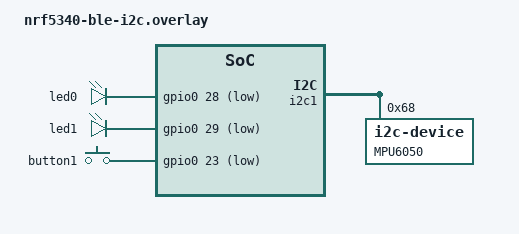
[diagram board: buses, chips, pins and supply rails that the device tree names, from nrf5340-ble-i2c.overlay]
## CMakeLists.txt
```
cmake_minimum_required(VERSION 3.20.0)
find_package(Zephyr REQUIRED HINTS $ENV{ZEPHYR_BASE})

project(test-application)

FILE(GLOB app_sources src/*.c)

target_sources(app PRIVATE ${app_sources})
```

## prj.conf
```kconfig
# Misc. settings (allow nonsecure logging, enable I2C)
CONFIG_I2C=y
CONFIG_FPU=y
CONFIG_TFM_SECURE_UART=n
CONFIG_TFM_LOG_LEVEL_SILENCE=y
CONFIG_LOG_BACKEND_SHOW_COLOR=y


# Bluetooth settings
CONFIG_BT=y
CONFIG_BT_PERIPHERAL=y
CONFIG_BT_SMP=n
CONFIG_BT_SETTINGS=n
CONFIG_BT_PRIVACY=n
CONFIG_BT_SIGNING=n
CONFIG_BT_GATT_CACHING=n
CONFIG_BT_DEVICE_NAME="Arctic_Beacon"

CONFIG_BT_GAP_AUTO_UPDATE_CONN_PARAMS=y
CONFIG_BT_PERIPHERAL_PREF_MIN_INT=12
CONFIG_BT_PERIPHERAL_PREF_MAX_INT=12
CONFIG_BT_PERIPHERAL_PREF_LATENCY=0
CONFIG_BT_PERIPHERAL_PREF_TIMEOUT=400

# Logging parameters
CONFIG_LOG=y
CONFIG_PRINTK=y
CONFIG_SERIAL=y
CONFIG_LOG_BACKEND_UART=y
CONFIG_UART_CONSOLE=y
```

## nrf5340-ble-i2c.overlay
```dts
/ { aliases {
        led0 = &led0;
        led1 = &led1;
        button1 = &button1;
    };
};

/* Override LED0 definition */
&led0 {
    gpios = <&gpio0 28 GPIO_ACTIVE_LOW>;
};
&led1 {
    gpios = <&gpio0 29 GPIO_ACTIVE_LOW>;
};
&button1 {
    gpios = <&gpio0 23 GPIO_ACTIVE_LOW>;
};


&i2c1{
    mpu6050:mpu6050@68{
        compatible = "i2c-device";
        reg = < 0x68 >;
        status = "okay";
        label = "MPU6050";
    };
};
```

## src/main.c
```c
#include <zephyr/kernel.h>
#include "mpu6050.h"
#include "bluetooth.h"
#include "button.h" 
#include <zephyr/device.h>
#include <zephyr/devicetree.h>
#include <zephyr/logging/log.h>
#include <zephyr/sys/printk.h>
#include <zephyr/drivers/i2c.h>

#define I2C1_NODE DT_NODELABEL(mpu6050)
static const struct i2c_dt_spec dev_i2c1 = I2C_DT_SPEC_GET(I2C1_NODE);

#define STACKSIZE 2048
#define PRIORITY 5
static struct k_work adv_work;

K_THREAD_STACK_DEFINE(send_data_stack, STACKSIZE);
static struct k_thread send_data_thread_id;

LOG_MODULE_REGISTER(testapp);


static void adv_work_handler(struct k_work *work)
{
        if (my_ble_init() != 0) 
        {
        return;
        }
}

static void advertising_start(void)
{
	k_work_submit(&adv_work);
}

void send_data_thread(void)
{
        while(1)
        {
        // Read all available accelerometer frames and average them
        struct Accel accel_data = readAccelFIFO(&dev_i2c1);

        // Read gyroscope once (or implement similar FIFO if needed)
        //struct Measurement gyro_data = readGyro(&dev_i2c1);

        // Print debug info
        //printk("Accel X: %.3f, Y: %.3f, Z: %.3f\n", accel_data.x, accel_data.y, accel_data.z);

        // Send via BLE
        my_ble_send_accel(accel_data);
        //my_ble_send_gyro(gyro_data);

        // Sleep to control data rate
        k_sleep(K_MSEC(15));
        }
}


int main(void)
{

    gpio_pin_configure_dt(&button1, GPIO_INPUT | GPIO_PULL_UP);
    /* Falling edge interrrupt for */
    gpio_pin_interrupt_configure_dt(&button1, GPIO_INT_EDGE_FALLING);
    gpio_init_callback(&button_cb, update_press, BIT(button1.pin));
    gpio_add_callback(button1.port, &button_cb);



        if (!mpu6050_init(&dev_i2c1)) 
        {
        return 1;
        }

        if (!mpu6050_gyro_test(&dev_i2c1))
        {
        return 1;
        }

        if (!mpu6050_accel_test(&dev_i2c1)) 
        {
                return 1;
        }

        if (!mpu6050_calculate_accel_offsets(&dev_i2c1)) 
        {
        return 1;
        }
        /*
        if (!mpu6050_calculate_gyro_offsets(&dev_i2c1)) 
        {
        return 1;
        }*/
        
        
        k_work_init(&adv_work, adv_work_handler);
	advertising_start();

        k_thread_create(&send_data_thread_id,
                    send_data_stack,
                    STACKSIZE,
                    send_data_thread,
                    NULL, NULL, NULL,
                    PRIORITY, 0, K_NO_WAIT);

}
```

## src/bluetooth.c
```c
#include "bluetooth.h"
#include "button.h"

LOG_MODULE_DECLARE(testapp);

static bool notify_gyro_enabled = false;
static bool notify_accel_enabled = false;
static bool notify_button_enabled = false;
extern uint8_t counter;


#define BT_UUID_SERVICE_VAL  BT_UUID_128_ENCODE(0x12345678,0x1234,0x5678,0x1234,0x56789abcdef0)
#define BT_UUID_GYRO_CHAR_VAL     BT_UUID_128_ENCODE(0x12345679,0x1234,0x5678,0x1234,0x56789abcdef0)
#define BT_UUID_ACCEL_CHAR_VAL     BT_UUID_128_ENCODE(0x12345676,0x1234,0x5678,0x1234,0x56789abcdef0)
#define BT_UUID_BUTTON_CHAR_VAL     BT_UUID_128_ENCODE(0x12345675,0x1234,0x5678,0x1234,0x56789abcdef0)

static struct bt_uuid_128 gyro_service_uuid = BT_UUID_INIT_128(BT_UUID_SERVICE_VAL);
static struct bt_uuid_128 gyro_char_uuid    = BT_UUID_INIT_128(BT_UUID_GYRO_CHAR_VAL);
static struct bt_uuid_128 accel_char_uuid    = BT_UUID_INIT_128(BT_UUID_ACCEL_CHAR_VAL);
static struct bt_uuid_128 button_char_uuid    = BT_UUID_INIT_128(BT_UUID_BUTTON_CHAR_VAL);

static void gyro_ccc_cfg_changed(const struct bt_gatt_attr *attr, uint16_t value);
static void accel_ccc_cfg_changed(const struct bt_gatt_attr *attr, uint16_t value);
static void button_ccc_cfg_changed(const struct bt_gatt_attr *attr, uint16_t value);

/* values for characteristics */
static uint16_t gyro_value = 0;
//static uint16_t accel_value = 0;
static uint8_t accel_value[12];
static uint8_t button_value = 0;


/* GATT service definition and characteristic definitions */
BT_GATT_SERVICE_DEFINE(my_svc,
    BT_GATT_PRIMARY_SERVICE(&gyro_service_uuid),

    /* GYRO characteristic */
    BT_GATT_CHARACTERISTIC(&gyro_char_uuid.uuid,
            BT_GATT_CHRC_NOTIFY,
            BT_GATT_PERM_NONE,
            NULL, NULL, &gyro_value),

    BT_GATT_CCC(gyro_ccc_cfg_changed,
            BT_GATT_PERM_READ | BT_GATT_PERM_WRITE),

    BT_GATT_DESCRIPTOR(BT_UUID_GATT_CUD,
            BT_GATT_PERM_READ,
            NULL, NULL, "Gyroscope Data"),

    /* ACCEL characteristic */
    BT_GATT_CHARACTERISTIC(&accel_char_uuid.uuid,
            BT_GATT_CHRC_NOTIFY,
            BT_GATT_PERM_NONE,
            NULL, NULL, &accel_value),

    BT_GATT_CCC(accel_ccc_cfg_changed,
            BT_GATT_PERM_READ | BT_GATT_PERM_WRITE),

    BT_GATT_DESCRIPTOR(BT_UUID_GATT_CUD,
            BT_GATT_PERM_READ,
            NULL, NULL, "Accelerometer Data"),

        /* Button characteristic */
    BT_GATT_CHARACTERISTIC(&button_char_uuid.uuid,
            BT_GATT_CHRC_NOTIFY,
            BT_GATT_PERM_NONE,
            NULL, NULL, &button_value),

    BT_GATT_CCC(button_ccc_cfg_changed,
            BT_GATT_PERM_READ | BT_GATT_PERM_WRITE),

    BT_GATT_DESCRIPTOR(BT_UUID_GATT_CUD,
            BT_GATT_PERM_READ,
            NULL, NULL, "Button Data")        
);

/* Callback functions for client subscribing/removing subscription */
static void gyro_ccc_cfg_changed(const struct bt_gatt_attr *attr, uint16_t value)
{
    notify_gyro_enabled = (value & BT_GATT_CCC_NOTIFY) != 0;
}

static void accel_ccc_cfg_changed(const struct bt_gatt_attr *attr, uint16_t value)
{
    notify_accel_enabled = (value & BT_GATT_CCC_NOTIFY) != 0;
}

static void button_ccc_cfg_changed(const struct bt_gatt_attr *attr, uint16_t value)
{
    notify_button_enabled = (value & BT_GATT_CCC_NOTIFY) != 0;
    if (notify_button_enabled) {
        button_value = counter;
        bt_gatt_notify(NULL, &my_svc.attrs[10], &button_value, sizeof(button_value));
    }
}

/* Send Gyroscope values */
int my_ble_send_gyro(struct Measurement val)
{
    if (!notify_gyro_enabled) {
        return -EACCES;
    }


    /* Convert to Big-Endian (values make more sense)*/
    val.x = sys_cpu_to_be16(val.x);
    val.y = sys_cpu_to_be16(val.y);
    val.z = sys_cpu_to_be16(val.z);

    return bt_gatt_notify(NULL, &my_svc.attrs[2], &val, sizeof(val));
}

/* Send Accelometer values (float, no burst) */
int my_ble_send_accel(struct Accel val)
{
    if (!notify_accel_enabled) {
        return -EACCES;
    }

    return bt_gatt_notify(NULL, &my_svc.attrs[6], &val, sizeof(val));
}

/* Send button value */
int my_ble_send_button(uint8_t value)
{
    if (!notify_button_enabled) {
        return -EACCES;
    }

    button_value = value;

    return bt_gatt_notify(NULL, &my_svc.attrs[10], &button_value, sizeof(button_value));
}

static void on_connected(struct bt_conn *conn, uint8_t err)
{
    if (err) {
        LOG_ERR("BLE: Failed to connect (%u)\n", err);
    } else {
        LOG_INF("BLE: Connected\n");
        static struct bt_le_conn_param conn_param = {
            .interval_min = 12,   // 15 ms
            .interval_max = 12,   // 15 ms
            .latency = 0,
            .timeout = 400,
        };

        bt_conn_le_param_update(conn, &conn_param);

    }
}

static void on_disconnected(struct bt_conn *conn, uint8_t reason)
{
    LOG_INF("BLE: Disconnected (reason %u)\n", reason);
}

BT_CONN_CB_DEFINE(conn_callbacks) = {
    .connected = on_connected,
    .disconnected = on_disconnected,
};

int my_ble_init(void)
{
    printk("BLE initializing\n");

    int err = bt_enable(NULL);
    if (err) {
        LOG_ERR("BLE init failed (%d)\n", err);
        return err;
    }

    /* Connectable BLE GATT parameters */
    static const struct bt_le_adv_param adv_param = {
        .id = BT_ID_DEFAULT,
        .interval_min = BT_GAP_ADV_FAST_INT_MIN_2,
        .interval_max = BT_GAP_ADV_FAST_INT_MAX_2,
        .options = BT_LE_ADV_OPT_USE_NAME| BT_LE_ADV_OPT_CONNECTABLE,  
    };

    /* Start advertising with aforementioned parameters */
    err = bt_le_adv_start(&adv_param, NULL, 0, NULL, 0);
    if (err) {
        LOG_ERR("Advertising failed (%d)", err);
        return err;
    }


    LOG_INF("Advertising started\n");
    printk("BLE initialized\n");


    return 0;
}
```

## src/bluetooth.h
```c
#ifndef MY_BLUETOOTH_H
#define MY_BLUETOOTH_H

#include <zephyr/bluetooth/bluetooth.h>
#include <zephyr/bluetooth/gatt.h>
#include <zephyr/bluetooth/conn.h>
#include <zephyr/logging/log.h>
#include "measurement.h"
#include <zephyr/sys/byteorder.h>

int my_ble_init(void);
int my_ble_send_gyro(struct Measurement val);
int my_ble_send_accel(struct Accel val);
int my_ble_send_button(uint8_t value);

#endif
```

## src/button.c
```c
#include "button.h"
#include "bluetooth.h"

struct gpio_callback button_cb;
uint8_t counter = 0;
uint8_t button_presses = 0;
const struct gpio_dt_spec button1 = GPIO_DT_SPEC_GET(DT_ALIAS(button1), gpios);

void update_press(const struct device *dev, struct gpio_callback *cb, uint32_t pins)
{
    button_presses++;
    my_ble_send_button(counter);

    if(button_presses > 1 && counter < 5)
    {
        counter++;
        my_ble_send_button(counter);
    }
    else if(button_presses == 255)
    {
        button_presses = 0;
    }
    else
    {
        counter = 0;
        button_presses++;
        my_ble_send_button(counter);
    }
}
```

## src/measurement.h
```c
#ifndef MEASUREMENT_H
#define MEASUREMENT_H

#include <stdint.h>

struct Measurement {
    int16_t x;
    int16_t y;
    int16_t z;
};

struct Accel {
    float x;
    float y;
    float z;
};

#endif
```

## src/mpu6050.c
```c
#include "mpu6050.h"

LOG_MODULE_DECLARE(testapp);

uint8_t fssel_input;
int16_t gyro_offset_x = 0, gyro_offset_y = 0 , gyro_offset_z = 0;
int16_t accel_offset_x = 0, accel_offset_y = 0, accel_offset_z = 0;

bool mpu6050_init(const struct i2c_dt_spec *target_node) 
{
    uint8_t addr_data;
    uint8_t config_data;
    uint8_t smprate_data;
    uint8_t fssel_data; // Used to check written fssel configuration
    uint8_t power_state; // Used for checking correct write of power state (On)
    uint8_t fssel_selection = 0; // Selection of configuration with index number of fssel_options array
    uint8_t fs_sel[2] = {shared.gyro_config,fssel_input}; 
    int res;

    /* Configure LED for calibration signaling (led0 for accel, led1 for gyro)*/
    gpio_pin_configure_dt(&led0, GPIO_OUTPUT_INACTIVE);
    gpio_pin_configure_dt(&led1, GPIO_OUTPUT_INACTIVE);

    /* Check microcontroller I2C bus */
    printk("Initializing MPU6050 driver\n");
    if (!device_is_ready(target_node->bus)) {
        LOG_ERR("I2C bus not ready\n");
        return false;
    }

    /* Check MPU6050 by reading WHO_AM_I register */
    res = i2c_reg_read_byte_dt(target_node, MPU6050_WHOAMI, &addr_data);
    if (res != 0) 
    {
        LOG_ERR("Failed to read WHO_AM_I register (err %d)\n", res);
        return false;
    }


        /* Wake sensor up from sleep mode */
    res = i2c_reg_write_byte_dt(target_node, init.power[0], init.power[1]);
    if(res != 0)
    {
	    LOG_ERR("Failed to power up");
        return false;
    }
    res = i2c_reg_read_byte_dt(target_node, init.power[0], &power_state);
    if(res != 0 || power_state != init.power[1]) {
        LOG_ERR("Register verification failed");
        return false;
    }

    /* Write CLPF/External Frame Sync configuration */
    res = i2c_reg_write_byte_dt(target_node, init.config[0], init.config[1]);
    if(res != 0)
    {
	    LOG_ERR("Failed to write configuration");
        return false;
    }

    /* Write sample rate divider */
    res = i2c_reg_write_byte_dt(target_node, init.smp_rate[0], init.smp_rate[1]);
    if(res != 0)
    {
	LOG_ERR("Failed to write sample rate divider");
    return false;
    }

    /* Set Full Scale Range based on fssel_selection variable */
    switch(fssel_selection)
    {
    case 0:
        fssel_input = init.fssel_options[0];
        break;
    case 1:
        fssel_input = init.fssel_options[1];
        break;
    case 2:
        fssel_input = init.fssel_options[2];
        break;
    case 3:
        fssel_input = init.fssel_options[3];
        break;
    default:
        break;
    }

    /* Write Full Scale Range configuration */
    res = i2c_reg_write_byte_dt(target_node, fs_sel[0], fs_sel[1]);
    if(res != 0)
    {
	    LOG_ERR("Failed to write Gyroscope full scale range");
        return false;
    }

        /* Write Accelometer Full Scale Range configuration */
    res = i2c_reg_write_byte_dt(target_node, shared.accel_config, 0x00);
    if(res != 0)
    {
	    LOG_ERR("Failed to write Accelometer full scale range");
        return false;
    }


    
    /*
    i2c_reg_write_byte_dt(target_node, init.fifo_usrctrl, 0x04);

    i2c_reg_write_byte_dt(target_node, init.fifo_usrctrl, 0x40); 

    res = i2c_reg_write_byte_dt(target_node, init.fifoen[0], init.fifoen[1]);
    if(res != 0)
    {
	    LOG_ERR("Failed to enable FIFO");
        return false;
    } */

    // 1. Disable FIFO 
    i2c_reg_write_byte_dt(target_node, init.fifo_usrctrl, 0x00);

    // 2. Reset FIFO 
    i2c_reg_write_byte_dt(target_node, init.fifo_usrctrl, 0x04);

    // 3. Enable only accel in FIFO
    i2c_reg_write_byte_dt(target_node, 0x23, 0x08);     // FIFO_EN = ACCEL

    // 4. Enable FIFO (must OR with reset state)
    i2c_reg_write_byte_dt(target_node, 0x6A, 0x44);     // USER_CTRL = FIFO_EN | FIFO_RST
    k_msleep(3);                                        // allow FIFO pipeline fill

    // 5. Finally clear FIFO_RST, keep FIFO_EN
    i2c_reg_write_byte_dt(target_node, 0x6A, 0x40);     // USER_CTRL = FIFO_EN

    


    /* Log written configuration */
    LOG_INF("The full scale range is ±%i°/s\n", 250*(fssel_selection+1));
    if((config_data & 0x07) != 0)
    {
        LOG_INF("The sample rate is %i Hz\n", (8000/(1+init.smp_rate[1]))); // TODO: Check config bits for DLPF and change base sample rate based on it.
    }
    else if((config_data & 0x07) == 0)
    {
        LOG_INF("The sample rate is %i Hz\n", (1000/(1+init.smp_rate[1]))); // TODO: Check config bits for DLPF and change base sample rate based on it.
    }
    LOG_INF("Data written to config: %x\n", config_data);
    printk("MPU6050 driver initialized\n");
    return true;
}

struct Measurement readGyro(const struct i2c_dt_spec *target_node)
{
    struct Measurement m;
    uint8_t buf[6];

    /* Read register values */
    int ret = i2c_burst_read_dt(target_node, read_addr.gx, buf, 6);
    if (ret != 0)
    {
        LOG_ERR("Failed to read gyroscope values\n");
        m.x = m.y = m.z = 0;
        return m;
    }

    int16_t raw_x = (int16_t)((buf[0] << 8) | buf[1]);
    int16_t raw_y = (int16_t)((buf[2] << 8) | buf[3]);
    int16_t raw_z = (int16_t)((buf[4] << 8) | buf[5]);

    // Apply software offsets
    m.x = raw_x - gyro_offset_x;
    m.y = raw_y - gyro_offset_y;
    m.z = raw_z - gyro_offset_z;

    return m;
}

struct Accel readAccelFIFO(const struct i2c_dt_spec *target_node)
{
    /* Initialize accel struct*/
    struct Accel accel = {0};

    /* Check FIFO register availability */
    uint8_t fifo_count_h, fifo_count_l;
    if (i2c_reg_read_byte_dt(target_node, read_addr.fifo_counth, &fifo_count_h) != 0 ||
        i2c_reg_read_byte_dt(target_node, read_addr.fifo_countl, &fifo_count_l) != 0) {
        LOG_ERR("Failed to read FIFO count");
        return accel;
    }
    
    uint16_t fifo_count = ((uint16_t)fifo_count_h << 8) | fifo_count_l;
    if (fifo_count < 6) return accel;

    int samples = fifo_count / 6;
    int32_t sum_x = 0, sum_y = 0, sum_z = 0;

    for (int i = 0; i < samples; i++) {
        uint8_t fifo_data[6];
        if (i2c_burst_read_dt(target_node, read_addr.fifo_rw, fifo_data, 6) != 0) {
            LOG_ERR("Failed to read FIFO sample %d", i);
            continue;
        }

        int16_t raw_x = (int16_t)((fifo_data[0] << 8) | fifo_data[1]);
        int16_t raw_y = (int16_t)((fifo_data[2] << 8) | fifo_data[3]);
        int16_t raw_z = (int16_t)((fifo_data[4] << 8) | fifo_data[5]);

        // Apply zero-g offsets only
        raw_x -= accel_offset_x;
        raw_y -= accel_offset_y;
        raw_z -= accel_offset_z;  

        sum_x += raw_x;
        sum_y += raw_y;
        sum_z += raw_z;
    }

    /* Convert raw values with offsets subtracted to G */
    accel.x = (float)sum_x / (samples * 16384.0f);
    accel.y = (float)sum_y / (samples * 16384.0f);
    accel.z = 1.0f + ((float)sum_z / (samples * 16384.0f)); // Add 1g back for gravity

    /* Round to 2 decimal places */
    accel.x = roundf(accel.x * 100.0f) / 100.0f;
    accel.y = roundf(accel.y * 100.0f) / 100.0f;
    accel.z = roundf(accel.z * 100.0f) / 100.0f;

    return accel;
}


bool mpu6050_calculate_gyro_offsets(const struct i2c_dt_spec *target_node)
{
    const int samples = 3000;
    int32_t sum_x = 0, sum_y = 0, sum_z = 0;
    uint8_t buf[6];
    int valid_samples = 0;

    printk("Calculating MPU6050 gyro offsets...\n");
    gpio_pin_toggle_dt(&led1);

    for (int i = 0; i < samples; i++) {
        if (i2c_burst_read_dt(target_node, 0x43, buf, 6) != 0) {
            LOG_ERR("Failed to read gyro sample %d\n", i);
            k_sleep(K_MSEC(2));
            continue;
        }

        sum_x += (int16_t)((buf[0] << 8) | buf[1]);
        sum_y += (int16_t)((buf[2] << 8) | buf[3]);
        sum_z += (int16_t)((buf[4] << 8) | buf[5]);

        valid_samples++;
        k_sleep(K_MSEC(2));
    }

    if (valid_samples == 0) {
        LOG_ERR("No valid gyro samples read\n");
        return false;
    }

    gyro_offset_x = sum_x / valid_samples;
    gyro_offset_y = sum_y / valid_samples;
    gyro_offset_z = sum_z / valid_samples;

    printk("Gyro offsets calculated: X=%d Y=%d Z=%d\n",
           gyro_offset_x, gyro_offset_y, gyro_offset_z);

    gpio_pin_toggle_dt(&led1);
    return true;
}

bool mpu6050_calculate_accel_offsets(const struct i2c_dt_spec *target_node)
{
    const int samples = 3000;
    int32_t sum_x = 0, sum_y = 0, sum_z = 0;
    uint8_t buf[6];
    int valid_samples = 0;

    /* Notify user about calibration start via logs and LED */
    printk("Calculating MPU6050 accelerometer offsets...\n");
    gpio_pin_toggle_dt(&led0);


    /* Take samples */
    for (int i = 0; i < samples; i++) {
        if (i2c_burst_read_dt(target_node, 0x3B, buf, 6) != 0) {
            LOG_ERR("Failed to read accel sample %d\n", i);
            k_sleep(K_MSEC(2));
            continue;
        }

        sum_x += (int16_t)((buf[0] << 8) | buf[1]);
        sum_y += (int16_t)((buf[2] << 8) | buf[3]);
        sum_z += (int16_t)((buf[4] << 8) | buf[5]);

        valid_samples++;
        k_sleep(K_MSEC(2));
    }

    if (valid_samples == 0) {
        LOG_ERR("No valid accel samples read\n");
        return false;
    }

    /* calculate offset */
    accel_offset_x = sum_x / valid_samples;
    accel_offset_y = sum_y / valid_samples;

    /* Adjust Z offset to account for gravity (~1g) */
    accel_offset_z = (sum_z / valid_samples) - 16384; // assuming FS=±2g

    printk("Accel offsets calculated: X=%d Y=%d Z=%d\n",
           accel_offset_x, accel_offset_y, accel_offset_z);
    /* Notify user of calibration end via LED */
    gpio_pin_toggle_dt(&led0);       
    return true;
}

bool mpu6050_gyro_test(const struct i2c_dt_spec *target_node) 
{
    uint8_t test_config[2] = {shared.gyro_config,(fssel_input | 0xE0)};
    uint8_t config_write;
    int registers[] = {selftest_addr.x, selftest_addr.y, selftest_addr.z};
    int register_size = sizeof(registers) / sizeof(registers[0]);
    char names[] = {'X', 'Y', 'Z'};
    int8_t trim[3];
    int8_t str[3];
    int8_t deviation[3];
    uint8_t test_bits[3];
    uint8_t raw_bits[3];
    
    /* Enable test mode*/
    int res_test = i2c_reg_write_byte_dt(target_node, test_config[0], test_config[1]);
    if(res_test != 0)
    {
	    LOG_ERR("Failed to enable tests!");
        return false;
    }
    for(int i=0; i < register_size; i++)
    {
        int ret = i2c_reg_read_byte_dt(target_node, registers[i], &raw_bits[i]);
        if (ret != 0) {
            LOG_ERR("Failed to read Self-test register (err %d)\n", ret);
            return false;
        }
        raw_bits[i] = raw_bits[i] & 0x1f; // Discard first three bits
        LOG_INF("MPU6050 Gyroscope self-test register %c = 0x%x\n", names[i], raw_bits[i]);
    }
    /* Disable test mode */
    test_config[1] = fssel_input & ~0xE6;
    int res_notest = i2c_reg_write_byte_dt(target_node, test_config[0], test_config[1]);
    if(res_notest != 0)
    {
	    LOG_ERR("Failed to disable tests!");
        return false;
    }
    k_sleep(K_MSEC(250));
    for(int i=0; i < register_size; i++)
    {
        int ret = i2c_reg_read_byte_dt(target_node, registers[i], &test_bits[i]);
        if (ret != 0) {
            LOG_ERR("Failed to read Self-test register (err %d)\n", ret);
            return false;
        }
        test_bits[i] = test_bits[i] & 0x1f; // Discard first three bits
        LOG_INF("MPU6050 Gyroscope self-test (disabled) register %c = 0x%x\n", names[i], raw_bits[i]);
    }

    /* Calculate trim deviation for Gyroscope */
    for(int i=0; i < register_size; i++)
    {
        str[i] = test_bits[i] - raw_bits[i];              // Self-Test Response
        trim[i] = (25*131*pow(1.046, (test_bits[i]-1)));  // 25*131*1.046^(test-1)
        deviation[i] = ((str[i] - trim[i]) / trim[i]);    // trim deviation from Factory defaults in percents
    }
    LOG_INF("Gyroscope X deviation: %i%%, Y deviation: %i%%, Z deviation: %i%%\n", deviation[0], deviation[1], deviation[2]);

    /* Warn user if values under/over tresholds */
    if(!(deviation[0] > -14 && deviation[0] < 14) || !(deviation[1] > -14 && deviation[1] < 14) || !(deviation[2] > -14 && deviation[2] < 14))
    {
        LOG_WRN("Self-test values exceeded/went under treshold. Please check the sensor");
    }
    return true;
}


bool mpu6050_accel_test(const struct i2c_dt_spec *target_node) 
{
    uint8_t test_config[2] = {shared.accel_config,(fssel_input | 0xE0)};
    uint8_t config_write;
    int registers[] = {selftest_addr.x, selftest_addr.y, selftest_addr.z};
    int register_size = sizeof(registers) / sizeof(registers[0]);
    char names[3] = {'X', 'Y', 'Z'};
    uint8_t extra_bits[3];
    int8_t trim[3];
    int8_t str[3];
    int8_t deviation[3];
    uint8_t test_bits[3];
    uint8_t raw_bits[3];
    
    int res_test = i2c_reg_write_byte_dt(target_node, test_config[0], test_config[1]);
    if(res_test != 0)
    {
	    LOG_ERR("Failed to enable tests!");
        return false;
    }
    for(int i=0; i < register_size; i++)
    {
        int ret = i2c_reg_read_byte_dt(target_node, registers[i], &test_bits[i]);
        if (ret != 0) {
            LOG_ERR("Failed to read Self-test register (err %d)\n", ret);
            return false;
        }

        int extra_ret = i2c_reg_read_byte_dt(target_node, 0x10, &extra_bits[i]);
        if (extra_ret != 0) {
            LOG_ERR("Failed to read Self-test register (err %d)\n", ret);
            return false;
        }
        test_bits[i] &= 0xE0; // Remove last five bits
        extra_bits[i] = (extra_bits[i] >> (6 - i*2)) & 0x03; // extract extra bits
        extra_bits[i] <<= 2; // set extra bits to LSB
        test_bits[i] = (test_bits[i] >> 3) | extra_bits[i]; // merge bits
        LOG_INF("MPU6050 Accelometer self-test register %c = 0x%x\n", names[i], raw_bits[i]);
    }
    memset(extra_bits, 0, sizeof(extra_bits)); // Empty extra bit array
    test_config[1] = fssel_input & ~0xE6;
    int res_notest = i2c_reg_write_byte_dt(target_node, test_config[0], test_config[1]);
    if(res_notest != 0)
    {
	    LOG_ERR("Failed to disable tests!");
        return false;
    }
    k_sleep(K_MSEC(250));
    for(int i=0; i < register_size; i++)
    {
        int ret = i2c_reg_read_byte_dt(target_node, registers[i], &raw_bits[i]);
        if (ret != 0) {
            LOG_ERR("Failed to read Self-test register (err %d)\n", ret);
            return false;
        }
        raw_bits[i] &= 0xE0; // Remove last five bits
        extra_bits[i] = (extra_bits[i] >> (6 - i*2)) & 0x03; // extract extra bits
        extra_bits[i] <<= 2; // set extra bits to LSB
        raw_bits[i] = (raw_bits[i] >> 3) | extra_bits[i]; // merge bits
        LOG_INF("MPU6050 Accelometer self-test (disabled) register %c = 0x%x\n", names[i], raw_bits[i]);
    }


    /*Calculate trim deviation for Accelometer */
    for(int i=0; i < register_size; i++)
    {
        str[i] = test_bits[i] - raw_bits[i];
        trim[i] = 4096*0.34*pow((0.92/0.34),((test_bits[i]-1) / (pow(2,5)-2)));
        deviation[i] = ((str[i] - trim[i]) / trim[i]); 
    }

    LOG_INF("Accelometer X deviation: %i%%, Y deviation: %i%%, Z deviation: %i%%\n", deviation[0], deviation[1], deviation[2]);

    /* Warn user if values under/over tresholds */
    if(!(deviation[0] > -14 && deviation[0] < 14) || !(deviation[1] > -14 && deviation[1] < 14) || !(deviation[2] > -14 && deviation[2] < 14))
    {
        LOG_WRN("Self-test values exceeded/went under treshold. Please check the sensor");
    }
    return true;
}
```

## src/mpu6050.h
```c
#ifndef MPU6050_H
#define MPU6050_H

#include <zephyr/drivers/i2c.h>
#include <zephyr/logging/log.h>
#include <zephyr/drivers/gpio.h>
#include <math.h>
#include "measurement.h"

#define MPU6050_ADDR 0x68
#define MPU6050_WHOAMI 0x75

static const struct gpio_dt_spec led0 = GPIO_DT_SPEC_GET(DT_ALIAS(led0), gpios);
static const struct gpio_dt_spec led1 = GPIO_DT_SPEC_GET(DT_ALIAS(led1), gpios);


#define MPU6050_FIFO_R_W     0x74

/* Self-test registers */
static const struct 
{
    const uint8_t x;
    const uint8_t y;
    const uint8_t z;
    const uint8_t gyro_config;
    const uint8_t accel_config;
} selftest_addr = 
{
    .x = 0x0D,
    .y = 0x0E,
    .z = 0x0F
};


/* Used for registers and values used by multiple portions of the software*/
static const struct 
{
    const uint8_t gyro_config;
    const uint8_t accel_config;
} shared = 
{
    .gyro_config = 0x1B,
    .accel_config = 0x1C
};

/* Registers and values used during initialization*/
static const struct 
{
    const uint8_t config[2];
    const uint8_t smp_rate[2];
    const uint8_t fssel_options[4];
    const uint8_t power[2];
    const uint8_t fifoen[2];
    const uint8_t fifo_usrctrl;
} init = 
{
    .config = {0x1a,0x00}, // Configuration, enable/disable CLPF/External Frame Sync
    .smp_rate = {0x19,1}, // Divider for sample rate, sample rate calculated with (8KHz|1KHz)/(1+smp_rate)
    .fssel_options = {0x00,0x08,0x10,0x18}, // Options for setting Full Scale Range bits
    .power = {0x6B,0x00}, // Register address and value for power state (0x00 for on)
    .fifoen = {0x23, 0x78}, // FIFO Enable register and enable bit for Accelometer
    .fifo_usrctrl = 0x6a // FIFO USER_CTRL register (used for FIFO Ops enable and buffer reset)
};

/* Registers to be read outside of init and/or testing */
static const struct 
{
    const uint8_t gx;
    const uint8_t gy;
    const uint8_t gz;
    const uint8_t fifo_counth;
    const uint8_t fifo_countl;
    const uint8_t fifo_rw;
} read_addr = 
{
    .gx = 0x43,
    .gy = 0x45,
    .gz = 0x47,
    .fifo_counth = 0x72,
    .fifo_countl = 0x73,
    .fifo_rw = 0x74
};


/*Check I2C bus availability and check device availability by reading WHO_AM_I*/
bool mpu6050_init(const struct i2c_dt_spec *target_node);

/* Read self-test registers for gyroscope bits */
bool mpu6050_gyro_test(const struct i2c_dt_spec *target_node);

/* Read self-test registers for accelometer bits */
bool mpu6050_accel_test(const struct i2c_dt_spec *target_node);

/* Read Gyroscope values */
struct Measurement readGyro(const struct i2c_dt_spec *target_node);

/* Read Accelometer values from FIFO buffer */
struct Accel readAccelFIFO(const struct i2c_dt_spec *node);

/* Calibrate the MPU6050 gyroscope by calculating mean and writing to offset registers*/
bool mpu6050_calculate_gyro_offsets(const struct i2c_dt_spec *target_node);

bool mpu6050_calculate_accel_offsets(const struct i2c_dt_spec *target_node);

#endif
```
